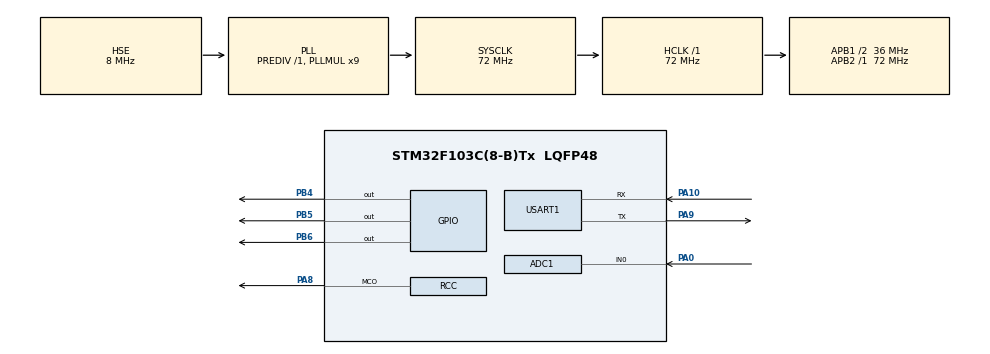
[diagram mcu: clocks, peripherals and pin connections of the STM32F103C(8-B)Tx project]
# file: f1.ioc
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ADC1.Channel-0\#ChannelRegularConversion=ADC_CHANNEL_0
ADC1.ContinuousConvMode=DISABLE
ADC1.ExternalTrigConv=ADC_EXTERNALTRIGCONV_T3_TRGO
ADC1.NbrOfConversionFlag=1
ADC1.Rank-0\#ChannelRegularConversion=1
ADC1.SamplingTime-0\#ChannelRegularConversion=ADC_SAMPLETIME_1CYCLE_5
ADC1.master=1
Dma.ADC1.0.Direction=DMA_PERIPH_TO_MEMORY
Dma.ADC1.0.Instance=DMA1_Channel1
Dma.ADC1.0.MemDataAlignment=DMA_MDATAALIGN_HALFWORD
Dma.ADC1.0.MemInc=DMA_MINC_ENABLE
Dma.ADC1.0.Mode=DMA_CIRCULAR
Dma.ADC1.0.PeriphDataAlignment=DMA_PDATAALIGN_HALFWORD
Dma.ADC1.0.PeriphInc=DMA_PINC_DISABLE
Dma.ADC1.0.Priority=DMA_PRIORITY_LOW
Dma.Request0=ADC1
Mcu.Family=STM32F1
Mcu.Name=STM32F103C(8-B)Tx
Mcu.Package=LQFP48
NVIC.ADC1_2_IRQn=true\:0\:0\:false\:false\:true\:true\:true\:true
NVIC.DMA1_Channel1_IRQn=true\:0\:0\:false\:false\:true\:false\:true\:true
NVIC.PriorityGroup=NVIC_PRIORITYGROUP_4
NVIC.USART1_IRQn=true\:0\:0\:false\:false\:true\:true\:true\:true
PA0-WKUP.Signal=ADCx_IN0
PA10.Mode=Asynchronous
PA10.Signal=USART1_RX
PA13.Mode=JTAG_4_pins
PA13.Signal=SYS_JTMS-SWDIO
PA14.Mode=JTAG_4_pins
PA14.Signal=SYS_JTCK-SWCLK
PA15.Mode=JTAG_4_pins
PA15.Signal=SYS_JTDI
PA8.Mode=Clock-out
PA8.Signal=RCC_MCO
PA9.Mode=Asynchronous
PA9.Signal=USART1_TX
PB3.Mode=JTAG_4_pins
PB3.Signal=SYS_JTDO-TRACESWO
PB4.GPIO_ModeDefaultOutputPP=GPIO_MODE_OUTPUT_PP
PB4.GPIO_Speed=GPIO_SPEED_FREQ_MEDIUM
PB4.Signal=GPIO_Output
PB5.GPIO_ModeDefaultOutputPP=GPIO_MODE_OUTPUT_PP
PB5.GPIO_Speed=GPIO_SPEED_FREQ_MEDIUM
PB5.Signal=GPIO_Output
PB6.GPIO_ModeDefaultOutputPP=GPIO_MODE_OUTPUT_PP
PB6.GPIO_Speed=GPIO_SPEED_FREQ_MEDIUM
PB6.Signal=GPIO_Output
PC14-OSC32_IN.Mode=LSE-External-Oscillator
PC14-OSC32_IN.Signal=RCC_OSC32_IN
PC15-OSC32_OUT.Mode=LSE-External-Oscillator
PC15-OSC32_OUT.Signal=RCC_OSC32_OUT
PD0-OSC_IN.Mode=HSE-External-Oscillator
PD0-OSC_IN.Signal=RCC_OSC_IN
PD1-OSC_OUT.Mode=HSE-External-Oscillator
PD1-OSC_OUT.Signal=RCC_OSC_OUT
ProjectManager.HeapSize=0x200
ProjectManager.StackSize=0x400
ProjectManager.TargetToolchain=MDK-ARM V5.32
RCC.ADCPresc=RCC_ADCPCLK2_DIV6
RCC.AHBFreq_Value=72000000
RCC.APB1CLKDivider=RCC_HCLK_DIV2
RCC.APB1Freq_Value=36000000
RCC.APB1TimFreq_Value=72000000
RCC.APB2Freq_Value=72000000
RCC.APB2TimFreq_Value=72000000
RCC.HCLKFreq_Value=72000000
RCC.PLLMUL=RCC_PLL_MUL9
RCC.PLLSourceVirtual=RCC_PLLSOURCE_HSE
RCC.RCC_MCOSource=RCC_MCO1SOURCE_PLLCLK
RCC.SYSCLKFreq_VALUE=72000000
RCC.SYSCLKSource=RCC_SYSCLKSOURCE_PLLCLK
RCC.USBFreq_Value=72000000
SH.ADCx_IN0.0=ADC1_IN0,IN0
TIM3.Period=50-1
TIM3.Prescaler=720-1
TIM3.TIM_MasterOutputTrigger=TIM_TRGO_UPDATE
USART1.VirtualMode=VM_ASYNC
VP_TIM3_VS_ClockSourceINT.Mode=Internal
board=custom

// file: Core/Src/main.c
/* USER CODE BEGIN Header */
/**
  ******************************************************************************
  * @file           : main.c
  * @brief          : Main program body
  ******************************************************************************
  * @attention
  *
  * Copyright (c) 2023 STMicroelectronics.
  * All rights reserved.
  *
  * This software is licensed under terms that can be found in the LICENSE file
  * in the root directory of this software component.
  * If no LICENSE file comes with this software, it is provided AS-IS.
  *
  ******************************************************************************
  */
/* USER CODE END Header */
#include "main.h"
#include "adc.h"
#include "dma.h"
#include "tim.h"
#include "usart.h"
#include "gpio.h"

/* USER CODE BEGIN Includes */
#include "myusart1.h"
#include "delay.h"
#include "Data_handle.h"
#include "dac8830.h"
/* USER CODE END Includes */

/* USER CODE BEGIN PV */
uint16_t num = 0;
uint16_t start = 1;
uint16_t lock_flag = 0;
double lock_1 = 0;
double lock_2 = 0;
/* USER CODE END PV */

void SystemClock_Config(void);

int main(void)
{

  /* MCU Configuration--------------------------------------------------------*/

  /* Reset of all peripherals, Initializes the Flash interface and the Systick. */
  HAL_Init();

  /* Configure the system clock */
  SystemClock_Config();

  /* Initialize all configured peripherals */
  MX_GPIO_Init();
  MX_DMA_Init();
  MX_USART1_UART_Init();
  MX_ADC1_Init();
  MX_TIM3_Init();
  /* USER CODE BEGIN 2 */
  MyUSART1_Init(&huart1);
  delay_init(72);
  HAL_TIM_Base_Start(&htim3);

  DAC8830_Init();
  DAC8830_WriteDate(0);
  ADC_Start();

  /* USER CODE END 2 */

  /* Infinite loop */
  while (1)
  {

  }
}

void SystemClock_Config(void)
{
  RCC_OscInitTypeDef RCC_OscInitStruct = {0};
  RCC_ClkInitTypeDef RCC_ClkInitStruct = {0};
  RCC_PeriphCLKInitTypeDef PeriphClkInit = {0};

  /** Initializes the RCC Oscillators according to the specified parameters
  * in the RCC_OscInitTypeDef structure.
  */
  RCC_OscInitStruct.OscillatorType = RCC_OSCILLATORTYPE_HSE;
  RCC_OscInitStruct.HSEState = RCC_HSE_ON;
  RCC_OscInitStruct.HSEPredivValue = RCC_HSE_PREDIV_DIV1;
  RCC_OscInitStruct.HSIState = RCC_HSI_ON;
  RCC_OscInitStruct.PLL.PLLState = RCC_PLL_ON;
  RCC_OscInitStruct.PLL.PLLSource = RCC_PLLSOURCE_HSE;
  RCC_OscInitStruct.PLL.PLLMUL = RCC_PLL_MUL9;
  if (HAL_RCC_OscConfig(&RCC_OscInitStruct) != HAL_OK)
  {
    Error_Handler();
  }

  /** Initializes the CPU, AHB and APB buses clocks
  */
  RCC_ClkInitStruct.ClockType = RCC_CLOCKTYPE_HCLK|RCC_CLOCKTYPE_SYSCLK
                              |RCC_CLOCKTYPE_PCLK1|RCC_CLOCKTYPE_PCLK2;
  RCC_ClkInitStruct.SYSCLKSource = RCC_SYSCLKSOURCE_PLLCLK;
  RCC_ClkInitStruct.AHBCLKDivider = RCC_SYSCLK_DIV1;
  RCC_ClkInitStruct.APB1CLKDivider = RCC_HCLK_DIV2;
  RCC_ClkInitStruct.APB2CLKDivider = RCC_HCLK_DIV1;

  if (HAL_RCC_ClockConfig(&RCC_ClkInitStruct, FLASH_LATENCY_2) != HAL_OK)
  {
    Error_Handler();
  }
  PeriphClkInit.PeriphClockSelection = RCC_PERIPHCLK_ADC;
  PeriphClkInit.AdcClockSelection = RCC_ADCPCLK2_DIV6;
  if (HAL_RCCEx_PeriphCLKConfig(&PeriphClkInit) != HAL_OK)
  {
    Error_Handler();
  }
  HAL_RCC_MCOConfig(RCC_MCO, RCC_MCO1SOURCE_PLLCLK, RCC_MCODIV_1);
}

/* USER CODE BEGIN 4 */
void HAL_ADC_ConvCpltCallback(ADC_HandleTypeDef *hadc)
{
	if(hadc == &hadc1)
	{
		//第一次锁定（0.1步进）
		if(!lock_flag)
		{
			//printf("第几次 %d\r\n",num);
			Data_handle();
			DAC8830_WriteDate((float)num/10);
			delay_ms(10);
			num++;
			if(num==18)
			{
				lock_1 = lock() - 2;
				//DAC8830_WriteDate((lock_1 + 2)/10);
				//HAL_ADC_Stop_DMA(&hadc1);
				lock_flag = 1;
				num=0;
			}
		}
		//第二次锁定
		else
		{
			Data_handle();
			DAC8830_WriteDate(lock_1/10+(float)num/100);
			delay_ms(10);
			num++;
			if(num == 40)
			{
				lock_2 = lock();
//				ADC_Stop();
				DAC8830_WriteDate(lock_1/10+lock_2/100);
				printf("锁定位置 = %f V\r\n",(lock_1/10+lock_2/100));
				lock_flag = 0;
				start = 0;
				num=0;
			}
		}
		if(start)
			ADC_Start();
		else
			ADC_Stop();
		//打表用
//		Data_handle();
//		DAC8830_WriteDate((float)num/50);
//		num++;
//		if(num==86)
//		{
//			excel();
//			Trisection();
//			num=0;
//		}
	}
}

/* USER CODE END 4 */

void Error_Handler(void)
{
  __disable_irq();
  while (1)
  {
  }
}
